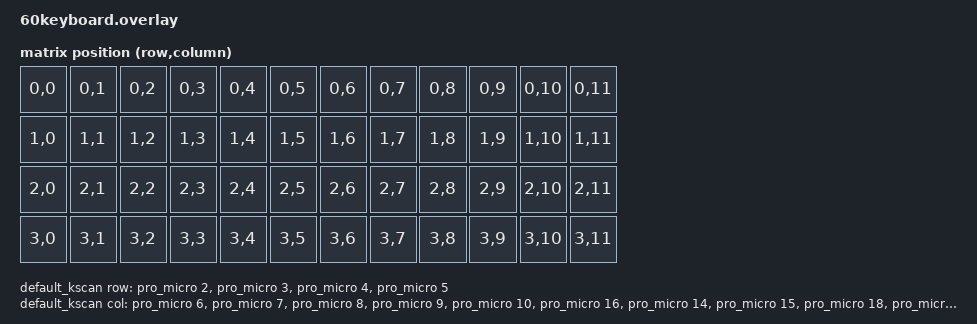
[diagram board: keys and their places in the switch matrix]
/*
 * Copyright (c) 2020 The ZMK Contributors
 *
 * SPDX-License-Identifier: MIT
 */

#include <dt-bindings/zmk/matrix_transform.h>

/ {
    chosen {
        zmk,kscan = &default_kscan;
        zmk,matrix-transform = &default_transform;
    };

    default_kscan: kscan {
        compatible = "zmk,kscan-gpio-matrix";
        diode-direction = "row2col";
        wakeup-source;

        row-gpios
             = <&pro_micro 2 GPIO_ACTIVE_HIGH>   // D2 - row1
             , <&pro_micro 3 GPIO_ACTIVE_HIGH>   // D3 - row2
             , <&pro_micro 4 GPIO_ACTIVE_HIGH>   // D4 - row3
             , <&pro_micro 5 GPIO_ACTIVE_HIGH>;  // D5 - row4

        col-gpios
            = <&pro_micro 6 (GPIO_ACTIVE_HIGH | GPIO_PULL_DOWN)>  // D6 - col1
            , <&pro_micro 7 (GPIO_ACTIVE_HIGH | GPIO_PULL_DOWN)>  // D7 - col2
            , <&pro_micro 8 (GPIO_ACTIVE_HIGH | GPIO_PULL_DOWN)>  // D8 - col3
            , <&pro_micro 9 (GPIO_ACTIVE_HIGH | GPIO_PULL_DOWN)>  // D9 - col4
            , <&pro_micro 10 (GPIO_ACTIVE_HIGH | GPIO_PULL_DOWN)> // D10 - col5
            , <&pro_micro 16 (GPIO_ACTIVE_HIGH | GPIO_PULL_DOWN)> // D16 - col6
            , <&pro_micro 14 (GPIO_ACTIVE_HIGH | GPIO_PULL_DOWN)> // D14 - col7
            , <&pro_micro 15 (GPIO_ACTIVE_HIGH | GPIO_PULL_DOWN)> // D15 - col8
            , <&pro_micro 18 (GPIO_ACTIVE_HIGH | GPIO_PULL_DOWN)> // D18 - col9
            , <&pro_micro 19 (GPIO_ACTIVE_HIGH | GPIO_PULL_DOWN)> // D19 - col10
            , <&pro_micro 20 (GPIO_ACTIVE_HIGH | GPIO_PULL_DOWN)> // D20 - col11
            , <&pro_micro 21 (GPIO_ACTIVE_HIGH | GPIO_PULL_DOWN)> // D21 - col12
            ;
    };

    default_transform: matrix-transform {
        compatible = "zmk,matrix-transform";
        rows = <4>;
        columns = <12>;

        map = <
            RC(0,0) RC(0,1) RC(0,2) RC(0,3) RC(0,4) RC(0,5) RC(0,6) RC(0,7) RC(0,8) RC(0,9) RC(0,10) RC(0,11)
            RC(1,0) RC(1,1) RC(1,2) RC(1,3) RC(1,4) RC(1,5) RC(1,6) RC(1,7) RC(1,8) RC(1,9) RC(1,10) RC(1,11)
            RC(2,0) RC(2,1) RC(2,2) RC(2,3) RC(2,4) RC(2,5) RC(2,6) RC(2,7) RC(2,8) RC(2,9) RC(2,10) RC(2,11)
            RC(3,0) RC(3,1) RC(3,2) RC(3,3) RC(3,4) RC(3,5) RC(3,6) RC(3,7) RC(3,8) RC(3,9) RC(3,10) RC(3,11)
        >;
    };
};
